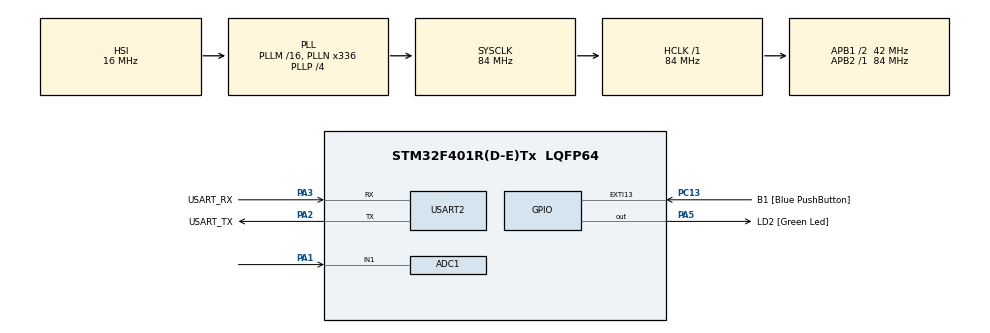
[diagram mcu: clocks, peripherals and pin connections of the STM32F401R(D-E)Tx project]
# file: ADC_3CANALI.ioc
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ADC1.Channel-0\#ChannelRegularConversion=ADC_CHANNEL_1
ADC1.Channel-1\#ChannelRegularConversion=ADC_CHANNEL_TEMPSENSOR
ADC1.Channel-2\#ChannelRegularConversion=ADC_CHANNEL_VREFINT
ADC1.DMAContinuousRequests=ENABLE
ADC1.ExternalTrigConv=ADC_EXTERNALTRIGCONV_T2_TRGO
ADC1.NbrOfConversion=3
ADC1.NbrOfConversionFlag=1
ADC1.Rank-0\#ChannelRegularConversion=1
ADC1.Rank-1\#ChannelRegularConversion=2
ADC1.Rank-2\#ChannelRegularConversion=3
ADC1.SamplingTime-0\#ChannelRegularConversion=ADC_SAMPLETIME_480CYCLES
ADC1.SamplingTime-1\#ChannelRegularConversion=ADC_SAMPLETIME_480CYCLES
ADC1.SamplingTime-2\#ChannelRegularConversion=ADC_SAMPLETIME_480CYCLES
ADC1.ScanConvMode=ENABLE
ADC1.master=1
Dma.ADC1.1.Direction=DMA_PERIPH_TO_MEMORY
Dma.ADC1.1.FIFOMode=DMA_FIFOMODE_DISABLE
Dma.ADC1.1.Instance=DMA2_Stream0
Dma.ADC1.1.MemDataAlignment=DMA_MDATAALIGN_HALFWORD
Dma.ADC1.1.MemInc=DMA_MINC_ENABLE
Dma.ADC1.1.Mode=DMA_CIRCULAR
Dma.ADC1.1.PeriphDataAlignment=DMA_PDATAALIGN_HALFWORD
Dma.ADC1.1.PeriphInc=DMA_PINC_DISABLE
Dma.ADC1.1.Priority=DMA_PRIORITY_HIGH
Dma.Request0=USART2_TX
Dma.Request1=ADC1
Dma.USART2_TX.0.Direction=DMA_MEMORY_TO_PERIPH
Dma.USART2_TX.0.FIFOMode=DMA_FIFOMODE_DISABLE
Dma.USART2_TX.0.Instance=DMA1_Stream6
Dma.USART2_TX.0.MemDataAlignment=DMA_MDATAALIGN_BYTE
Dma.USART2_TX.0.MemInc=DMA_MINC_ENABLE
Dma.USART2_TX.0.Mode=DMA_NORMAL
Dma.USART2_TX.0.PeriphDataAlignment=DMA_PDATAALIGN_BYTE
Dma.USART2_TX.0.PeriphInc=DMA_PINC_DISABLE
Dma.USART2_TX.0.Priority=DMA_PRIORITY_HIGH
Mcu.Family=STM32F4
Mcu.Name=STM32F401R(D-E)Tx
Mcu.Package=LQFP64
NVIC.DMA1_Stream6_IRQn=true\:0\:0\:false\:false\:true\:false\:true\:true
NVIC.DMA2_Stream0_IRQn=true\:0\:0\:false\:false\:true\:false\:true\:true
NVIC.PriorityGroup=NVIC_PRIORITYGROUP_4
NVIC.TIM2_IRQn=true\:0\:0\:false\:false\:true\:true\:true\:true
NVIC.USART2_IRQn=true\:0\:0\:false\:false\:true\:true\:true\:true
PA1.Signal=ADCx_IN1
PA13.GPIO_Label=TMS
PA13.Mode=Trace_Asynchronous_SW
PA13.Signal=SYS_JTMS-SWDIO
PA14.GPIO_Label=TCK
PA14.Mode=Trace_Asynchronous_SW
PA14.Signal=SYS_JTCK-SWCLK
PA2.GPIO_Label=USART_TX
PA2.GPIO_Mode=GPIO_MODE_AF_PP
PA2.GPIO_PuPd=GPIO_NOPULL
PA2.GPIO_Speed=GPIO_SPEED_FREQ_LOW
PA2.Mode=Asynchronous
PA2.Signal=USART2_TX
PA3.GPIO_Label=USART_RX
PA3.GPIO_Mode=GPIO_MODE_AF_PP
PA3.GPIO_PuPd=GPIO_NOPULL
PA3.GPIO_Speed=GPIO_SPEED_FREQ_LOW
PA3.Mode=Asynchronous
PA3.Signal=USART2_RX
PA5.GPIO_Label=LD2 [Green Led]
PA5.GPIO_Mode=GPIO_MODE_OUTPUT_PP
PA5.GPIO_PuPd=GPIO_NOPULL
PA5.GPIO_Speed=GPIO_SPEED_FREQ_LOW
PA5.Signal=GPIO_Output
PB3.GPIO_Label=SWO
PB3.Mode=Trace_Asynchronous_SW
PB3.Signal=SYS_JTDO-SWO
PC13-ANTI_TAMP.GPIO_Label=B1 [Blue PushButton]
PC13-ANTI_TAMP.GPIO_ModeDefaultEXTI=GPIO_MODE_IT_FALLING
PC13-ANTI_TAMP.GPIO_PuPd=GPIO_NOPULL
PC13-ANTI_TAMP.Signal=GPXTI13
PC14-OSC32_IN.Mode=LSE-External-Oscillator
PC14-OSC32_IN.Signal=RCC_OSC32_IN
PC15-OSC32_OUT.Mode=LSE-External-Oscillator
PC15-OSC32_OUT.Signal=RCC_OSC32_OUT
PH0\ -\ OSC_IN.Mode=HSE-External-Clock-Source
PH0\ -\ OSC_IN.Signal=RCC_OSC_IN
PH1\ -\ OSC_OUT.Mode=HSE-External-Clock-Source
PH1\ -\ OSC_OUT.Signal=RCC_OSC_OUT
ProjectManager.HeapSize=0x200
ProjectManager.StackSize=0x400
ProjectManager.TargetToolchain=STM32CubeIDE
RCC.48MHZClocksFreq_Value=48000000
RCC.AHBFreq_Value=84000000
RCC.APB1CLKDivider=RCC_HCLK_DIV2
RCC.APB1Freq_Value=42000000
RCC.APB1TimFreq_Value=84000000
RCC.APB2Freq_Value=84000000
RCC.APB2TimFreq_Value=84000000
RCC.CortexFreq_Value=84000000
RCC.HCLKFreq_Value=84000000
RCC.HSE_VALUE=8000000
RCC.HSI_VALUE=16000000
RCC.PLLN=336
RCC.PLLP=RCC_PLLP_DIV4
RCC.PLLQ=7
RCC.SYSCLKFreq_VALUE=84000000
RCC.SYSCLKSource=RCC_SYSCLKSOURCE_PLLCLK
RCC.VCOOutputFreq_Value=336000000
SH.ADCx_IN1.0=ADC1_IN1,IN1
TIM2.Period=839999
TIM2.Prescaler=99
TIM2.TIM_MasterOutputTrigger=TIM_TRGO_UPDATE
USART2.VirtualMode=VM_ASYNC
VP_ADC1_TempSens_Input.Mode=IN-TempSens
VP_ADC1_Vref_Input.Mode=IN-Vrefint
VP_TIM2_VS_ClockSourceINT.Mode=Internal
board=NUCLEO-F401RE

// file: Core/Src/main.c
/* USER CODE BEGIN Header */
/**
  ******************************************************************************
  * @file           : main.c
  * @brief          : Main program body
  ******************************************************************************
  * @attention
  *
  * Copyright (c) 2026 STMicroelectronics.
  * All rights reserved.
  *
  * This software is licensed under terms that can be found in the LICENSE file
  * in the root directory of this software component.
  * If no LICENSE file comes with this software, it is provided AS-IS.
  *
  ******************************************************************************
  */
/* USER CODE END Header */
#include "main.h"

/* USER CODE BEGIN Includes */
#include "stdio.h"
#include "string.h"

/* USER CODE END Includes */

ADC_HandleTypeDef hadc1;
DMA_HandleTypeDef hdma_adc1;

TIM_HandleTypeDef htim2;

UART_HandleTypeDef huart2;
DMA_HandleTypeDef hdma_usart2_tx;

/* USER CODE BEGIN PV */
uint16_t adc_buf[3];
float v_pot = 0.0f;
float v_temp_sense = 0.0f;
float temperature = 0.0f;
float v_refint = 0.0f;
uint8_t tx_buf[64];
int len;

/* USER CODE END PV */

void SystemClock_Config(void);
static void MX_GPIO_Init(void);
static void MX_DMA_Init(void);
static void MX_USART2_UART_Init(void);
static void MX_ADC1_Init(void);
static void MX_TIM2_Init(void);

/* USER CODE BEGIN 0 */
void HAL_ADC_ConvCpltCallback(ADC_HandleTypeDef *hadc)
{
    // Il Trigger (Timer 2 a 1Hz) avvia la conversione ogni secondo
	// Quando arriva l'EoC aggiorniamo i valori
	v_pot = ((float)adc_buf[0] * 3.3f) / 4095.0f;
	v_temp_sense = ((float)adc_buf[1] * 3.3f) / 4095.0f;
	v_refint = ((float)adc_buf[2] * 3.3f) / 4095.0f;

	temperature = ((v_temp_sense - 0.76f) / 0.0025f) + 25.0f;
	// T = (Vsense-V25)/avg_slope + 25°C

	// E li inviamo
	len = sprintf((char*)tx_buf, "Pot: %.2fV  Temp: %.1fC  Vref: %.2fV\r\n", v_pot, temperature, v_refint);
	HAL_UART_Transmit_DMA(&huart2, tx_buf, len);
}

/* USER CODE END 0 */

int main(void)
{

  /* MCU Configuration--------------------------------------------------------*/

  /* Reset of all peripherals, Initializes the Flash interface and the Systick. */
  HAL_Init();

  /* Configure the system clock */
  SystemClock_Config();

  /* Initialize all configured peripherals */
  MX_GPIO_Init();
  MX_DMA_Init();
  MX_USART2_UART_Init();
  MX_ADC1_Init();
  MX_TIM2_Init();
  /* USER CODE BEGIN 2 */
  HAL_TIM_Base_Start(&htim2); // Timer 2 (Trigger ADC)
  HAL_ADC_Start_DMA(&hadc1, (uint32_t*)adc_buf, 3);   // ADC (DMA Mode), buffer da 3 campioni

  /* USER CODE END 2 */

  /* Infinite loop */
  while (1)
  {

  }
}

void SystemClock_Config(void)
{
  RCC_OscInitTypeDef RCC_OscInitStruct = {0};
  RCC_ClkInitTypeDef RCC_ClkInitStruct = {0};

  /** Configure the main internal regulator output voltage
  */
  __HAL_RCC_PWR_CLK_ENABLE();
  __HAL_PWR_VOLTAGESCALING_CONFIG(PWR_REGULATOR_VOLTAGE_SCALE2);

  /** Initializes the RCC Oscillators according to the specified parameters
  * in the RCC_OscInitTypeDef structure.
  */
  RCC_OscInitStruct.OscillatorType = RCC_OSCILLATORTYPE_HSI;
  RCC_OscInitStruct.HSIState = RCC_HSI_ON;
  RCC_OscInitStruct.HSICalibrationValue = RCC_HSICALIBRATION_DEFAULT;
  RCC_OscInitStruct.PLL.PLLState = RCC_PLL_ON;
  RCC_OscInitStruct.PLL.PLLSource = RCC_PLLSOURCE_HSI;
  RCC_OscInitStruct.PLL.PLLM = 16;
  RCC_OscInitStruct.PLL.PLLN = 336;
  RCC_OscInitStruct.PLL.PLLP = RCC_PLLP_DIV4;
  RCC_OscInitStruct.PLL.PLLQ = 7;
  if (HAL_RCC_OscConfig(&RCC_OscInitStruct) != HAL_OK)
  {
    Error_Handler();
  }

  /** Initializes the CPU, AHB and APB buses clocks
  */
  RCC_ClkInitStruct.ClockType = RCC_CLOCKTYPE_HCLK|RCC_CLOCKTYPE_SYSCLK
                              |RCC_CLOCKTYPE_PCLK1|RCC_CLOCKTYPE_PCLK2;
  RCC_ClkInitStruct.SYSCLKSource = RCC_SYSCLKSOURCE_PLLCLK;
  RCC_ClkInitStruct.AHBCLKDivider = RCC_SYSCLK_DIV1;
  RCC_ClkInitStruct.APB1CLKDivider = RCC_HCLK_DIV2;
  RCC_ClkInitStruct.APB2CLKDivider = RCC_HCLK_DIV1;

  if (HAL_RCC_ClockConfig(&RCC_ClkInitStruct, FLASH_LATENCY_2) != HAL_OK)
  {
    Error_Handler();
  }
}

static void MX_ADC1_Init(void)
{

  ADC_ChannelConfTypeDef sConfig = {0};

  /** Configure the global features of the ADC (Clock, Resolution, Data Alignment and number of conversion)
  */
  hadc1.Instance = ADC1;
  hadc1.Init.ClockPrescaler = ADC_CLOCK_SYNC_PCLK_DIV4;
  hadc1.Init.Resolution = ADC_RESOLUTION_12B;
  hadc1.Init.ScanConvMode = ENABLE;
  hadc1.Init.ContinuousConvMode = DISABLE;
  hadc1.Init.DiscontinuousConvMode = DISABLE;
  hadc1.Init.ExternalTrigConvEdge = ADC_EXTERNALTRIGCONVEDGE_RISING;
  hadc1.Init.ExternalTrigConv = ADC_EXTERNALTRIGCONV_T2_TRGO;
  hadc1.Init.DataAlign = ADC_DATAALIGN_RIGHT;
  hadc1.Init.NbrOfConversion = 3;
  hadc1.Init.DMAContinuousRequests = ENABLE;
  hadc1.Init.EOCSelection = ADC_EOC_SINGLE_CONV;
  if (HAL_ADC_Init(&hadc1) != HAL_OK)
  {
    Error_Handler();
  }

  /** Configure for the selected ADC regular channel its corresponding rank in the sequencer and its sample time.
  */
  sConfig.Channel = ADC_CHANNEL_1;
  sConfig.Rank = 1;
  sConfig.SamplingTime = ADC_SAMPLETIME_480CYCLES;
  if (HAL_ADC_ConfigChannel(&hadc1, &sConfig) != HAL_OK)
  {
    Error_Handler();
  }

  /** Configure for the selected ADC regular channel its corresponding rank in the sequencer and its sample time.
  */
  sConfig.Channel = ADC_CHANNEL_TEMPSENSOR;
  sConfig.Rank = 2;
  if (HAL_ADC_ConfigChannel(&hadc1, &sConfig) != HAL_OK)
  {
    Error_Handler();
  }

  /** Configure for the selected ADC regular channel its corresponding rank in the sequencer and its sample time.
  */
  sConfig.Channel = ADC_CHANNEL_VREFINT;
  sConfig.Rank = 3;
  if (HAL_ADC_ConfigChannel(&hadc1, &sConfig) != HAL_OK)
  {
    Error_Handler();
  }

}

static void MX_TIM2_Init(void)
{

  TIM_ClockConfigTypeDef sClockSourceConfig = {0};
  TIM_MasterConfigTypeDef sMasterConfig = {0};

  htim2.Instance = TIM2;
  htim2.Init.Prescaler = 99;
  htim2.Init.CounterMode = TIM_COUNTERMODE_UP;
  htim2.Init.Period = 839999;
  htim2.Init.ClockDivision = TIM_CLOCKDIVISION_DIV1;
  htim2.Init.AutoReloadPreload = TIM_AUTORELOAD_PRELOAD_DISABLE;
  if (HAL_TIM_Base_Init(&htim2) != HAL_OK)
  {
    Error_Handler();
  }
  sClockSourceConfig.ClockSource = TIM_CLOCKSOURCE_INTERNAL;
  if (HAL_TIM_ConfigClockSource(&htim2, &sClockSourceConfig) != HAL_OK)
  {
    Error_Handler();
  }
  sMasterConfig.MasterOutputTrigger = TIM_TRGO_UPDATE;
  sMasterConfig.MasterSlaveMode = TIM_MASTERSLAVEMODE_DISABLE;
  if (HAL_TIMEx_MasterConfigSynchronization(&htim2, &sMasterConfig) != HAL_OK)
  {
    Error_Handler();
  }

}

static void MX_USART2_UART_Init(void)
{

  huart2.Instance = USART2;
  huart2.Init.BaudRate = 115200;
  huart2.Init.WordLength = UART_WORDLENGTH_8B;
  huart2.Init.StopBits = UART_STOPBITS_1;
  huart2.Init.Parity = UART_PARITY_NONE;
  huart2.Init.Mode = UART_MODE_TX_RX;
  huart2.Init.HwFlowCtl = UART_HWCONTROL_NONE;
  huart2.Init.OverSampling = UART_OVERSAMPLING_16;
  if (HAL_UART_Init(&huart2) != HAL_OK)
  {
    Error_Handler();
  }

}

static void MX_DMA_Init(void)
{

  /* DMA controller clock enable */
  __HAL_RCC_DMA1_CLK_ENABLE();
  __HAL_RCC_DMA2_CLK_ENABLE();

  /* DMA interrupt init */
  /* DMA1_Stream6_IRQn interrupt configuration */
  HAL_NVIC_SetPriority(DMA1_Stream6_IRQn, 0, 0);
  HAL_NVIC_EnableIRQ(DMA1_Stream6_IRQn);
  /* DMA2_Stream0_IRQn interrupt configuration */
  HAL_NVIC_SetPriority(DMA2_Stream0_IRQn, 0, 0);
  HAL_NVIC_EnableIRQ(DMA2_Stream0_IRQn);

}

static void MX_GPIO_Init(void)
{
  GPIO_InitTypeDef GPIO_InitStruct = {0};

  /* GPIO Ports Clock Enable */
  __HAL_RCC_GPIOC_CLK_ENABLE();
  __HAL_RCC_GPIOH_CLK_ENABLE();
  __HAL_RCC_GPIOA_CLK_ENABLE();
  __HAL_RCC_GPIOB_CLK_ENABLE();

  /*Configure GPIO pin Output Level */
  HAL_GPIO_WritePin(LD2_GPIO_Port, LD2_Pin, GPIO_PIN_RESET);

  /*Configure GPIO pin : B1_Pin */
  GPIO_InitStruct.Pin = B1_Pin;
  GPIO_InitStruct.Mode = GPIO_MODE_IT_FALLING;
  GPIO_InitStruct.Pull = GPIO_NOPULL;
  HAL_GPIO_Init(B1_GPIO_Port, &GPIO_InitStruct);

  /*Configure GPIO pin : LD2_Pin */
  GPIO_InitStruct.Pin = LD2_Pin;
  GPIO_InitStruct.Mode = GPIO_MODE_OUTPUT_PP;
  GPIO_InitStruct.Pull = GPIO_NOPULL;
  GPIO_InitStruct.Speed = GPIO_SPEED_FREQ_LOW;
  HAL_GPIO_Init(LD2_GPIO_Port, &GPIO_InitStruct);

}

void Error_Handler(void)
{
  __disable_irq();
  while (1)
  {
  }
}
